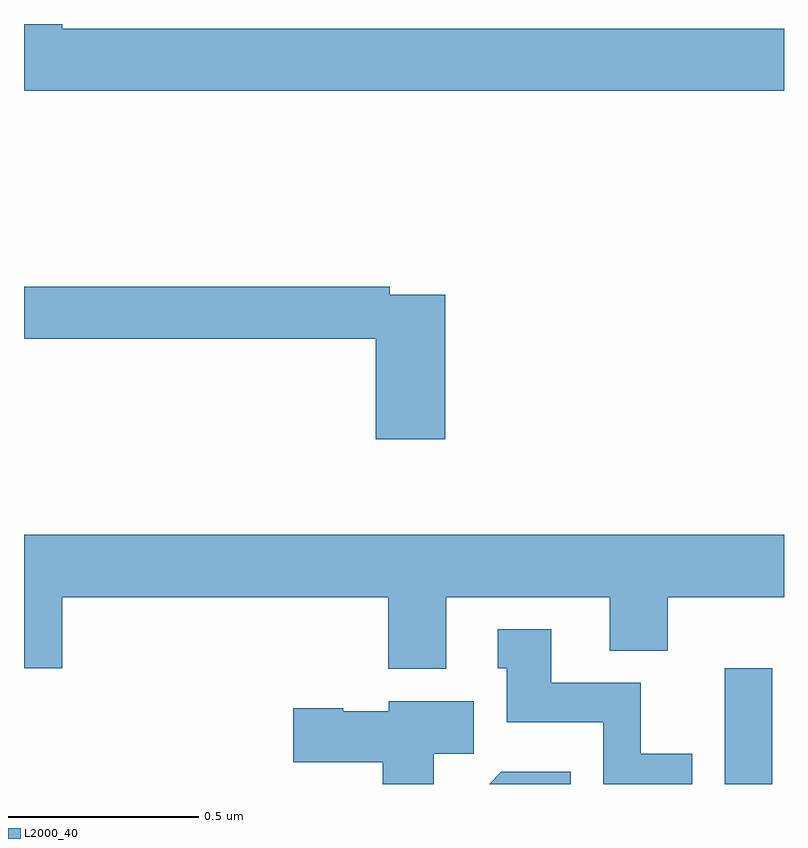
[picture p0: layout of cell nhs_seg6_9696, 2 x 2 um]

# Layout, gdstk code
import gdstk
lib = gdstk.Library(unit=1e-6, precision=1e-09)
def R(c, l, rs):  # rectangles x0, y0, x1, y1
    for r in rs: c.add(gdstk.rectangle(r[:2], r[2:], *l))
def P(c, l, *ps):  # polygons
    for p in ps: c.add(gdstk.Polygon(p, *l))
L2000_40 = (2000, 40)

nhs_seg6_9696 = lib.new_cell('nhs_seg6_9696')
R(nhs_seg6_9696, L2000_40, [(238.844,957.5,238.969,957.805)])
P(nhs_seg6_9696, L2000_40, [(239,959.488),(237.1,959.488),(237.1,959.5),(237,959.5),(237,959.324),(239,959.324)],
  [(238.109,958.788),(237.962,958.788),(237.962,958.808),(237,958.808),(237,958.672),(237.926,958.672),(237.926,958.407),(238.109,958.407)],
  [(238.111,957.992),(238.541,957.992),(238.541,957.851),(238.694,957.851),(238.694,957.992),(239,957.992),(239,958.156),(237,958.156),(237,957.804),(237.1,957.804),(237.1,957.992),(237.959,957.992),(237.959,957.803),(238.111,957.803)],
  [(238.759,957.58),(238.623,957.58),(238.623,957.766),(238.387,957.766),(238.387,957.907),(238.247,957.907),(238.247,957.804),(238.271,957.804),(238.271,957.662),(238.524,957.662),(238.524,957.5),(238.759,957.5)],
  [(238.078,957.58),(238.183,957.58),(238.183,957.718),(237.96,957.718),(237.96,957.691),(237.84,957.691),(237.84,957.699),(237.708,957.699),(237.708,957.557),(237.944,957.557),(237.944,957.5),(238.078,957.5)],
  [(238.439,957.532),(238.256,957.532),(238.224,957.5),(238.439,957.5)])

lib.write_gds('nhs_seg6_9696.gds')
